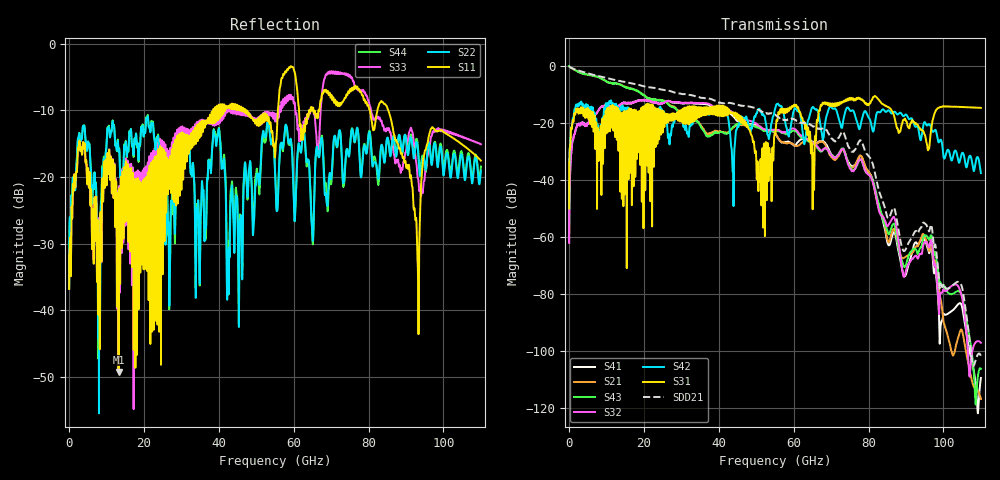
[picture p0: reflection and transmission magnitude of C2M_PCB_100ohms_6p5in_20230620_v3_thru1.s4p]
! Info: Touchstone file created by Circ.  Input file=C2M_PCB_100ohms_6p5in_20230620_v3.circ
# Hz S RI R 50
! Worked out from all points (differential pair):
!   11000 points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, 10 MHz to 110 GHz, reference 50 ohm
!   strongest paths, dB at 10 MHz, 27.51 GHz, 55.01 GHz, 82.51 GHz, 110 GHz:
!     S31: -50.0, -16.9, -24.0, -11.6, -14.7
!     S42: -49.9, -20.8, -15.1, -16.1, -37.6
!     S32: -62.0, -12.7, -22.4, -49.1, -97.1
!     S43: -0.1, -14.5, -22.7, -47.3, -106.2
!     S21: -0.1, -14.1, -23.4, -49.2, -116.8
!     S41: -61.9, -12.9, -23.5, -48.1, -109.4
!   taken as a pair (ports 3,1 in; 4,2 out), SDD21 dB: -0.1, -9.1, -17.0, -42.4, -101.8
!   lowest |S11| = -49.3 dB at 13.22 GHz (marker M1), VSWR 1.01, Z = 49.7 - j0.136 ohm
!   |S11| at or under -10 dB: start of sweep to 38.53 GHz; 47.45 GHz to 55.77 GHz (8.32 GHz wide, 16.1 % of centre); 85.27 GHz to end of sweep (the widest 3 of 20)
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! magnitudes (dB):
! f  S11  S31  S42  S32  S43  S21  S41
! 10 MHz  -36.8  -50.0  -49.9  -62.0  -0.1  -0.1  -61.9
! 2.15 GHz  -18.5  -15.8  -14.0  -20.6  -1.9  -1.9  -20.6
! 13.22 GHz  -49.3  -28.8  -16.4  -14.0  -6.3  -6.3  -14.0
! 50.91 GHz  -10.9  -40.6  -15.2  -21.2  -22.0  -21.6  -21.9
! 77.92 GHz  -7.2  -11.7  -20.5  -32.8  -32.9  -31.5  -31.6
! 89.49 GHz  -17.4  -18.9  -17.5  -73.9  -70.5  -67.3  -73.5
! 110 GHz  -17.5  -14.7  -37.6  -97.1  -106.2  -116.8  -109.4
